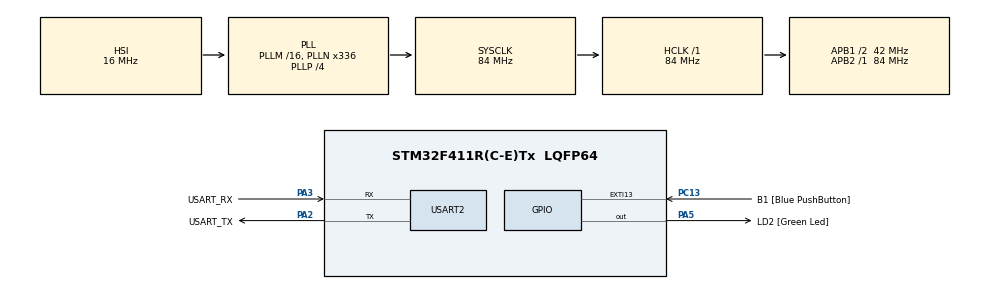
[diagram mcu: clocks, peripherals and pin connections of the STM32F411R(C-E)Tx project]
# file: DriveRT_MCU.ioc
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FREERTOS.Tasks01=defaultTask,24,128,StartDefaultTask,Default,NULL,Dynamic,NULL,NULL
FREERTOS.configUSE_NEWLIB_REENTRANT=1
Mcu.Family=STM32F4
Mcu.Name=STM32F411R(C-E)Tx
Mcu.Package=LQFP64
NVIC.PriorityGroup=NVIC_PRIORITYGROUP_4
NVIC.TIM1_TRG_COM_TIM11_IRQn=true\:15\:0\:false\:false\:true\:false\:false\:true\:true
NVIC.TimeBase=TIM1_TRG_COM_TIM11_IRQn
NVIC.TimeBaseIP=TIM11
PA13.GPIO_Label=TMS
PA13.Mode=Serial_Wire
PA13.Signal=SYS_JTMS-SWDIO
PA14.GPIO_Label=TCK
PA14.Mode=Serial_Wire
PA14.Signal=SYS_JTCK-SWCLK
PA2.GPIO_Label=USART_TX
PA2.Mode=Asynchronous
PA2.Signal=USART2_TX
PA3.GPIO_Label=USART_RX
PA3.Mode=Asynchronous
PA3.Signal=USART2_RX
PA5.GPIO_Label=LD2 [Green Led]
PA5.Signal=GPIO_Output
PB3.GPIO_Label=SWO
PB3.Signal=SYS_JTDO-SWO
PC13-ANTI_TAMP.GPIO_Label=B1 [Blue PushButton]
PC13-ANTI_TAMP.GPIO_ModeDefaultEXTI=GPIO_MODE_IT_FALLING
PC13-ANTI_TAMP.Signal=GPXTI13
PC14-OSC32_IN.Mode=LSE-External-Oscillator
PC14-OSC32_IN.Signal=RCC_OSC32_IN
PC15-OSC32_OUT.Mode=LSE-External-Oscillator
PC15-OSC32_OUT.Signal=RCC_OSC32_OUT
PH0\ -\ OSC_IN.Mode=HSE-External-Clock-Source
PH0\ -\ OSC_IN.Signal=RCC_OSC_IN
PH1\ -\ OSC_OUT.Mode=HSE-External-Clock-Source
PH1\ -\ OSC_OUT.Signal=RCC_OSC_OUT
ProjectManager.HeapSize=0x200
ProjectManager.StackSize=0x400
ProjectManager.TargetToolchain=STM32CubeIDE
RCC.48MHZClocksFreq_Value=84000000
RCC.AHBFreq_Value=84000000
RCC.APB1CLKDivider=RCC_HCLK_DIV2
RCC.APB1Freq_Value=42000000
RCC.APB1TimFreq_Value=84000000
RCC.APB2Freq_Value=84000000
RCC.APB2TimFreq_Value=84000000
RCC.CortexFreq_Value=84000000
RCC.FLatency-AdvancedSettings=FLASH_LATENCY_2
RCC.HCLKFreq_Value=84000000
RCC.HSE_VALUE=8000000
RCC.HSI_VALUE=16000000
RCC.PLLN=336
RCC.PLLP=RCC_PLLP_DIV4
RCC.SYSCLKFreq_VALUE=84000000
RCC.SYSCLKSource=RCC_SYSCLKSOURCE_PLLCLK
RCC.VCOOutputFreq_Value=336000000
USART2.VirtualMode=VM_ASYNC
VP_FREERTOS_VS_CMSIS_V2.Mode=CMSIS_V2
VP_SYS_VS_tim11.Mode=TIM11
board=NUCLEO-F411RE

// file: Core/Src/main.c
/* USER CODE BEGIN Header */
/**
  ******************************************************************************
  * @file           : main.c
  * @brief          : Main program body
  ******************************************************************************
  * @attention
  *
  * Copyright (c) 2026 STMicroelectronics.
  * All rights reserved.
  *
  * This software is licensed under terms that can be found in the LICENSE file
  * in the root directory of this software component.
  * If no LICENSE file comes with this software, it is provided AS-IS.
  *
  ******************************************************************************
  */
/* USER CODE END Header */
#include "main.h"
#include "cmsis_os.h"

/* USER CODE BEGIN Includes */

#include <stdio.h>
#include <string.h>

#include "command.h"
#include "mcu.h"
#include "state_machine.h"
#include "actuator.h"

/* USER CODE END Includes */

UART_HandleTypeDef huart2;

/* Definitions for defaultTask */
osThreadId_t defaultTaskHandle;
const osThreadAttr_t defaultTask_attributes = {
  .name = "defaultTask",
  .stack_size = 128 * 4,
  .priority = (osPriority_t) osPriorityNormal,
};

/* USER CODE BEGIN PV */

osMutexId_t uartTxMutex;
osMessageQueueId_t commandQueue;

/* USER CODE END PV */

void SystemClock_Config(void);
static void MX_GPIO_Init(void);
static void MX_USART2_UART_Init(void);
void StartDefaultTask(void *argument);

/* USER CODE BEGIN PFP */

void receiveMessage(void *argument);

void changeState(void *argument);

/* USER CODE END PFP */

int main(void)
{

  /* MCU Configuration--------------------------------------------------------*/

  /* Reset of all peripherals, Initializes the Flash interface and the Systick. */
   HAL_Init();

  /* Configure the system clock */
  SystemClock_Config();

  /* Initialize all configured peripherals */
  MX_GPIO_Init();
  MX_USART2_UART_Init();

  /* Init scheduler */
  osKernelInitialize();

  /* USER CODE BEGIN RTOS_MUTEX */

  uartTxMutex = osMutexNew(NULL);

  /* USER CODE END RTOS_MUTEX */

  /* USER CODE BEGIN RTOS_QUEUES */

  commandQueue = osMessageQueueNew(4, sizeof(Command), NULL);

  /* USER CODE END RTOS_QUEUES */

  /* Create the thread(s) */
  /* creation of defaultTask */
  defaultTaskHandle = osThreadNew(StartDefaultTask, NULL, &defaultTask_attributes);

  /* USER CODE BEGIN RTOS_THREADS */

  osThreadNew(receiveMessage, NULL, NULL);

  osThreadNew(changeState, NULL, NULL);

  /* USER CODE END RTOS_THREADS */

  /* Start scheduler */
  osKernelStart();

  /* We should never get here as control is now taken by the scheduler */

  /* Infinite loop */
  while (1)
  {
  }
}

void SystemClock_Config(void)
{
  RCC_OscInitTypeDef RCC_OscInitStruct = {0};
  RCC_ClkInitTypeDef RCC_ClkInitStruct = {0};

  /** Configure the main internal regulator output voltage
  */
  __HAL_RCC_PWR_CLK_ENABLE();
  __HAL_PWR_VOLTAGESCALING_CONFIG(PWR_REGULATOR_VOLTAGE_SCALE1);

  /** Initializes the RCC Oscillators according to the specified parameters
  * in the RCC_OscInitTypeDef structure.
  */
  RCC_OscInitStruct.OscillatorType = RCC_OSCILLATORTYPE_HSI;
  RCC_OscInitStruct.HSIState = RCC_HSI_ON;
  RCC_OscInitStruct.HSICalibrationValue = RCC_HSICALIBRATION_DEFAULT;
  RCC_OscInitStruct.PLL.PLLState = RCC_PLL_ON;
  RCC_OscInitStruct.PLL.PLLSource = RCC_PLLSOURCE_HSI;
  RCC_OscInitStruct.PLL.PLLM = 16;
  RCC_OscInitStruct.PLL.PLLN = 336;
  RCC_OscInitStruct.PLL.PLLP = RCC_PLLP_DIV4;
  RCC_OscInitStruct.PLL.PLLQ = 4;
  if (HAL_RCC_OscConfig(&RCC_OscInitStruct) != HAL_OK)
  {
    Error_Handler();
  }

  /** Initializes the CPU, AHB and APB buses clocks
  */
  RCC_ClkInitStruct.ClockType = RCC_CLOCKTYPE_HCLK|RCC_CLOCKTYPE_SYSCLK
                              |RCC_CLOCKTYPE_PCLK1|RCC_CLOCKTYPE_PCLK2;
  RCC_ClkInitStruct.SYSCLKSource = RCC_SYSCLKSOURCE_PLLCLK;
  RCC_ClkInitStruct.AHBCLKDivider = RCC_SYSCLK_DIV1;
  RCC_ClkInitStruct.APB1CLKDivider = RCC_HCLK_DIV2;
  RCC_ClkInitStruct.APB2CLKDivider = RCC_HCLK_DIV1;

  if (HAL_RCC_ClockConfig(&RCC_ClkInitStruct, FLASH_LATENCY_2) != HAL_OK)
  {
    Error_Handler();
  }
}

static void MX_USART2_UART_Init(void)
{

  huart2.Instance = USART2;
  huart2.Init.BaudRate = 115200;
  huart2.Init.WordLength = UART_WORDLENGTH_8B;
  huart2.Init.StopBits = UART_STOPBITS_1;
  huart2.Init.Parity = UART_PARITY_NONE;
  huart2.Init.Mode = UART_MODE_TX_RX;
  huart2.Init.HwFlowCtl = UART_HWCONTROL_NONE;
  huart2.Init.OverSampling = UART_OVERSAMPLING_16;
  if (HAL_UART_Init(&huart2) != HAL_OK)
  {
    Error_Handler();
  }

}

static void MX_GPIO_Init(void)
{
  GPIO_InitTypeDef GPIO_InitStruct = {0};

  /* GPIO Ports Clock Enable */
  __HAL_RCC_GPIOC_CLK_ENABLE();
  __HAL_RCC_GPIOH_CLK_ENABLE();
  __HAL_RCC_GPIOA_CLK_ENABLE();
  __HAL_RCC_GPIOB_CLK_ENABLE();

  /*Configure GPIO pin Output Level */
  HAL_GPIO_WritePin(LD2_GPIO_Port, LD2_Pin, GPIO_PIN_RESET);

  /*Configure GPIO pin : B1_Pin */
  GPIO_InitStruct.Pin = B1_Pin;
  GPIO_InitStruct.Mode = GPIO_MODE_IT_FALLING;
  GPIO_InitStruct.Pull = GPIO_NOPULL;
  HAL_GPIO_Init(B1_GPIO_Port, &GPIO_InitStruct);

  /*Configure GPIO pin : LD2_Pin */
  GPIO_InitStruct.Pin = LD2_Pin;
  GPIO_InitStruct.Mode = GPIO_MODE_OUTPUT_PP;
  GPIO_InitStruct.Pull = GPIO_NOPULL;
  GPIO_InitStruct.Speed = GPIO_SPEED_FREQ_LOW;
  HAL_GPIO_Init(LD2_GPIO_Port, &GPIO_InitStruct);

}

/* USER CODE BEGIN 4 */

void receiveMessage(void *argument)
{
  uint8_t rx_buf[1];
  char str_buf[20];
  int index = 0;

  Command cmd;

  for(;;)
  {
    HAL_UART_Receive(&huart2, rx_buf, sizeof(rx_buf), HAL_MAX_DELAY);

    if(rx_buf[0] == '\r')
    {
      str_buf[index] = '\0';
      HAL_UART_Transmit(&huart2,(uint8_t *) "[commTask LOG]\r\n", strlen("[commTask LOG]\r\n"), 1000);
      HAL_UART_Transmit(&huart2,(uint8_t *) str_buf, index, 1000);
      int result = parseCommandMessage(str_buf, &cmd);

      if(osMutexAcquire(uartTxMutex, osWaitForever) == osOK)
      {
        if(result == SUCCESS)
        {
            HAL_UART_Transmit(&huart2, (uint8_t *)"\r\nParse OK\r\n", sizeof("\r\nParse OK\r\n") -1, 1000);

            osStatus_t status = osMessageQueuePut(commandQueue, &cmd, 0, 0);

            if(status == osOK)
            {
                HAL_UART_Transmit(&huart2, (uint8_t *)"input OK\r\n", strlen("input OK\r\n"), 1000);
            }
            else
            {
                HAL_UART_Transmit(&huart2, (uint8_t *)"input X\r\n", strlen("input X\r\n"), 1000);
            }
         }
        else
        {
            HAL_UART_Transmit(&huart2, (uint8_t *)"\r\nParse Fail\r\n", sizeof("\r\nParse Fail\r\n") -1, 1000);
        }
        index = 0;

        osMutexRelease(uartTxMutex);
      }
    }
    else
    {
        if(index < sizeof(str_buf)-1)
        {
            str_buf[index] = rx_buf[0];
            index++;
          }
        else
        {
            //버퍼 full : 현재 수신 문자를 저장하지 않음
        }
    }
  }
}

void changeState(void *argument)
{
    Command cmd;
    State current_state = STATE_STOP;

    /* LOG */
      static const char * state_str[] = {
        "STATE_STOP",
        "STATE_RUNNING",
        "STATE_ERROR",
        "STATE_RECOVERY"
      };

    /* LOG */
      static const char * motor_str[] = {
        "MOTOR_OFF",
        "MOTOR_ON"
      };

    /* LOG */
      static const char * direction_str[] = {
        "FORWARD",
        "BACKWARD"
      };

    /* LOG */
      char pwm_str[20];

    for(;;)
    {
        osStatus_t status = osMessageQueueGet(commandQueue, &cmd, NULL, osWaitForever);
        if (status == osOK)
        {
            if(osMutexAcquire(uartTxMutex, osWaitForever) == osOK)
            {
                switch (cmd.type)
                {
                case CMD_MOVE:
                    current_state = getNextState(current_state, EVENT_RUN);
                    updateActuator(current_state, cmd);
                    break;

                case CMD_STOP:
                    current_state = getNextState(current_state, EVENT_STOP);
                    updateActuator(current_state, cmd);
                    break;
                }

                /*LOG*/
                HAL_UART_Transmit(&huart2, (uint8_t *)"[controlTask LOG]\r\n", strlen("[controlTask LOG]\r\n"),1000);

                HAL_UART_Transmit(&huart2, (uint8_t *)state_str[current_state], strlen(state_str[current_state]), 1000);
                HAL_UART_Transmit(&huart2, (uint8_t *)"\r\n", strlen("\r\n"),1000);

                snprintf(pwm_str, sizeof(pwm_str), "%d", actuator.pwm);
                HAL_UART_Transmit(&huart2, (uint8_t *)pwm_str, strlen(pwm_str),1000);
                HAL_UART_Transmit(&huart2, (uint8_t *)" ", 1, 1000);
                HAL_UART_Transmit(&huart2, (uint8_t *)motor_str[actuator.motor], strlen(motor_str[actuator.motor]),1000);
                HAL_UART_Transmit(&huart2, (uint8_t *)" ", 1, 1000);
                HAL_UART_Transmit(&huart2, (uint8_t *)direction_str[actuator.direction], strlen(direction_str[actuator.direction]),1000);
                HAL_UART_Transmit(&huart2, (uint8_t *)"\r\n\n", strlen("\r\n\n"), 1000);

                osMutexRelease(uartTxMutex);
            }
        }
    }
}

/* USER CODE END 4 */

void StartDefaultTask(void *argument)
{
  /* USER CODE BEGIN 5 */
  /* Infinite loop */
  for(;;)
  {
    HAL_GPIO_WritePin(LD2_GPIO_Port, LD2_Pin, GPIO_PIN_SET);
	  osDelay(500);
	  HAL_GPIO_WritePin(LD2_GPIO_Port, LD2_Pin, GPIO_PIN_RESET);
    osDelay(500);
  }
  /* USER CODE END 5 */
}

void HAL_TIM_PeriodElapsedCallback(TIM_HandleTypeDef *htim)
{
  if (htim->Instance == TIM11)
  {
    HAL_IncTick();
  }
}

void Error_Handler(void)
{
  __disable_irq();
  while (1)
  {
  }
}
